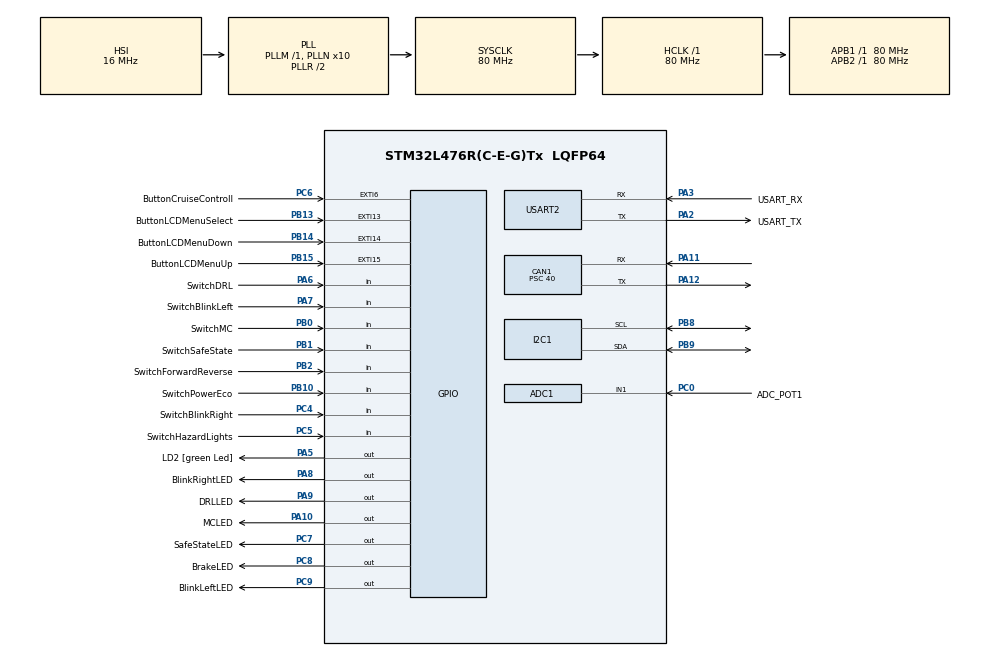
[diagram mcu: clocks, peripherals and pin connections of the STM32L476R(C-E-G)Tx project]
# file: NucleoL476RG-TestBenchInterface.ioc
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Mcu.Family=STM32L4
NVIC.ADC1_2_IRQn=true\:5\:0\:false\:false\:true\:true\:true\:true
PA2.GPIO_PuPd=GPIO_NOPULL
VP_SYS_VS_tim6.Mode=TIM6
TIM17.Prescaler=8000-1
RCC.CortexFreq_Value=80000000
VP_TIM17_VS_ClockSourceINT.Mode=Enable_Timer
ADC1.Overrun=ADC_OVR_DATA_OVERWRITTEN
VP_ADC1_TempSens_Input.Mode=IN-TempSens
ADC1.ContinuousConvMode=ENABLE
NVIC.TIM6_DAC_IRQn=true\:0\:0\:false\:false\:true\:false\:false\:true
PH0-OSC_IN\ (PH0).Signal=RCC_OSC_IN
PB14.GPIO_Label=ButtonLCDMenuDown
PA3.GPIO_PuPd=GPIO_NOPULL
PA2.GPIO_Speed=GPIO_SPEED_FREQ_VERY_HIGH
PC0.GPIO_Label=ADC_POT1
PC6.GPIO_Label=ButtonCruiseControll
PA11.Mode=CAN_Activate
PA6.GPIO_Label=SwitchDRL
PB0.GPIO_Label=SwitchMC
PC15-OSC32_OUT\ (PC15).Mode=LSE-External-Oscillator
PB13.GPIO_Label=ButtonLCDMenuSelect
PA3.GPIO_Speed=GPIO_SPEED_FREQ_VERY_HIGH
PB13.Signal=GPXTI13
PB15.Signal=GPXTI15
RCC.SYSCLKSource=RCC_SYSCLKSOURCE_PLLCLK
ProjectManager.StackSize=0x400
PB3\ (JTDO-TRACESWO).Signal=SYS_JTDO-SWO
PC14-OSC32_IN\ (PC14).Mode=LSE-External-Oscillator
VP_FREERTOS_VS_CMSIS_V2.Mode=CMSIS_V2
PA14\ (JTCK-SWCLK).Signal=SYS_JTCK-SWCLK
PA12.Signal=CAN1_TX
RCC.HCLKFreq_Value=80000000
RCC.APB2TimFreq_Value=80000000
Dma.ADC1.0.Direction=DMA_PERIPH_TO_MEMORY
PC7.Signal=GPIO_Output
Dma.ADC1.0.MemDataAlignment=DMA_MDATAALIGN_WORD
RCC.AHBFreq_Value=80000000
RCC.PREFETCH_ENABLE=1
NVIC.EXTI15_10_IRQn=true\:5\:0\:false\:false\:true\:true\:true\:true
ADC1.Channel-0\#ChannelRegularConversion=ADC_CHANNEL_TEMPSENSOR
RCC.HSE_VALUE=8000000
PB2.Signal=GPIO_Input
USART2.VirtualMode-Asynchronous=VM_ASYNC
TIM17.Period=5000-1
NVIC.TIM1_TRG_COM_TIM17_IRQn=true\:5\:0\:false\:false\:true\:true\:true\:true
PC4.GPIO_Label=SwitchBlinkRight
PB1.GPIO_Label=SwitchSafeState
PA5.GPIO_PuPd=GPIO_NOPULL
Dma.ADC1.0.PeriphInc=DMA_PINC_DISABLE
PA10.GPIO_Label=MCLED
PA8.Signal=GPIO_Output
ADC1.SamplingTime-0\#ChannelRegularConversion=ADC_SAMPLETIME_2CYCLES_5
FREERTOS.configTOTAL_HEAP_SIZE=4000
CAN1.Prescaler=40
Mcu.Package=LQFP64
PB9.Signal=I2C1_SDA
PB14.GPIO_PuPd=GPIO_PULLUP
PB1.Signal=GPIO_Input
PA6.Signal=GPIO_Input
NVIC.TimeBase=TIM6_DAC_IRQn
PB15.GPIO_PuPd=GPIO_PULLUP
PA2.GPIO_Label=USART_TX
NVIC.TimeBaseIP=TIM6
PA10.Signal=GPIO_Output
ADC1.OffsetNumber-1\#ChannelRegularConversion=ADC_OFFSET_NONE
PC6.GPIO_PuPd=GPIO_PULLUP
SH.ADCx_IN1.0=ADC1_IN1,IN1-Single-Ended
RCC.APB1TimFreq_Value=80000000
PC5.Signal=GPIO_Input
TIM16.Prescaler=8000-1
PA13\ (JTMS-SWDIO).Signal=SYS_JTMS-SWDIO
Dma.Request0=ADC1
CAN1.CalculateTimeBit=8000.00
RCC.PLLSAI1R=RCC_PLLR_DIV8
PA3.Signal=USART2_RX
CAN1.CalculateTimeQuantum=500.0
PA2.GPIO_Mode=GPIO_MODE_AF_PP
RCC.MSI_VALUE=4000000
RCC.PLLSourceVirtual=RCC_PLLSOURCE_HSI
PA14\ (JTCK-SWCLK).Mode=Serial_Wire
Dma.ADC1.0.Instance=DMA1_Channel1
FREERTOS.Tasks01=defaultTask,24,256,StartDefaultTask,Default,NULL,Dynamic,NULL,NULL;cruiseControl,40,128,StartCruiseControl,Default,NULL,Dynamic,NULL,NULL;ADC,8,256,StartADC,Default,NULL,Dynamic,NULL,NULL
ADC1.Rank-0\#ChannelRegularConversion=1
PC9.GPIO_Label=BlinkLeftLED
ADC1.OffsetNumber-0\#ChannelRegularConversion=ADC_OFFSET_NONE
PA9.GPIO_Label=DRLLED
CAN1.CalculateBaudRate=125000
PC8.Signal=GPIO_Output
PC4.Signal=GPIO_Input
PC6.Signal=GPXTI6
PC15-OSC32_OUT\ (PC15).Signal=RCC_OSC32_OUT
VP_TIM16_VS_ClockSourceINT.Mode=Enable_Timer
PA14\ (JTCK-SWCLK).GPIO_Label=TCK
PB3\ (JTDO-TRACESWO).GPIO_Label=SWO
PC0.Signal=ADCx_IN1
PH1-OSC_OUT\ (PH1).Signal=RCC_OSC_OUT
PC8.GPIO_Label=BrakeLED
PA3.Mode=Asynchronous
Dma.ADC1.0.PeriphDataAlignment=DMA_PDATAALIGN_WORD
PA8.GPIO_Label=BlinkRightLED
CAN1.BS2=CAN_BS2_2TQ
PC6.GPIO_ModeDefaultEXTI=GPIO_MODE_IT_RISING
CAN1.BS1=CAN_BS1_13TQ
ProjectManager.TargetToolchain=STM32CubeIDE
PB10.GPIO_Label=SwitchPowerEco
Dma.ADC1.0.Mode=DMA_CIRCULAR
PA3.GPIO_Mode=GPIO_MODE_AF_PP
PB9.Mode=I2C
Dma.ADC1.0.Priority=DMA_PRIORITY_LOW
PA9.Signal=GPIO_Output
ADC1.Channel-1\#ChannelRegularConversion=ADC_CHANNEL_1
I2C1.Timing=0x10909CEC
RCC.USBFreq_Value=64000000
PA7.GPIO_PuPd=GPIO_NOPULL
PB10.Signal=GPIO_Input
PB14.Signal=GPXTI14
PA5.Signal=GPIO_Output
board=NUCLEO-L476RG
RCC.VCOOutputFreq_Value=160000000
PB13.GPIO_PuPd=GPIO_PULLUP
TIM16.Period=5000-1
RCC.APB2Freq_Value=80000000
PA5.GPIO_ModeDefaultOutputPP=GPIO_MODE_OUTPUT_PP
PA13\ (JTMS-SWDIO).GPIO_Label=TMS
PB15.GPIO_Label=ButtonLCDMenuUp
RCC.ADCFreq_Value=16000000
ADC1.DMAContinuousRequests=ENABLE
ADC1.NbrOfConversion=2
Mcu.Name=STM32L476R(C-E-G)Tx
PA2.Signal=USART2_TX
PC7.GPIO_Label=SafeStateLED
PA13\ (JTMS-SWDIO).Mode=Serial_Wire
ADC1.SamplingTime-1\#ChannelRegularConversion=ADC_SAMPLETIME_247CYCLES_5
RCC.SYSCLKFreq_VALUE=80000000
PA7.GPIO_Label=SwitchBlinkLeft
ADC1.master=1
PA12.Mode=CAN_Activate
PA5.GPIO_Label=LD2 [green Led]
PC5.GPIO_Label=SwitchHazardLights
PC14-OSC32_IN\ (PC14).Signal=RCC_OSC32_IN
ADC1.Rank-1\#ChannelRegularConversion=2
PA11.Signal=CAN1_RX
NVIC.EXTI9_5_IRQn=true\:5\:0\:false\:false\:true\:true\:true\:true
Dma.ADC1.0.MemInc=DMA_MINC_ENABLE
PB2.GPIO_Label=SwitchForwardReverse
ProjectManager.HeapSize=0x200
RCC.HSI_VALUE=16000000
NVIC.TIM1_UP_TIM16_IRQn=true\:5\:0\:false\:false\:true\:true\:true\:true
PA5.GPIO_Speed=GPIO_SPEED_FREQ_LOW
NVIC.PriorityGroup=NVIC_PRIORITYGROUP_4
ADC1.NbrOfConversionFlag=1
PB8.Mode=I2C
RCC.PLLN=10
PA2.Mode=Asynchronous
PB8.Signal=I2C1_SCL
PC9.Signal=GPIO_Output
NVIC.DMA1_Channel1_IRQn=true\:5\:0\:false\:false\:true\:true\:false\:true
RCC.APB1Freq_Value=80000000
PB0.Signal=GPIO_Input
ADC1.ClockPrescaler=ADC_CLOCK_ASYNC_DIV64
NVIC.CAN1_RX0_IRQn=true\:5\:0\:false\:false\:true\:true\:true\:true
PA3.GPIO_Label=USART_RX
PA7.Signal=GPIO_Input

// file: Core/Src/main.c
/* USER CODE BEGIN Header */
/**
 ******************************************************************************
 * @file           : main.c
 * @brief          : Main program body
 ******************************************************************************
 * @attention
 *
 * <h2><center>&copy; Copyright (c) 2021 STMicroelectronics.
 * All rights reserved.</center></h2>
 *
 * This software component is licensed by ST under BSD 3-Clause license,
 * the "License"; You may not use this file except in compliance with the
 * License. You may obtain a copy of the License at:
 *                        opensource.org/licenses/BSD-3-Clause
 *
 ******************************************************************************
 */
/* USER CODE END Header */
#include "main.h"
#include "cmsis_os.h"

/* USER CODE BEGIN Includes */
#include <string.h>
#include <stdio.h>
#include <stdlib.h>
#include "i2c-lcd.h"
/* USER CODE END Includes */

/* USER CODE BEGIN PD */
#define DEBUG_MODE 1 //When running in debug mode the nucleo sends some debug data on USART
#define SAMPLERATE 1

#define NUMBER_OF_SWITCHES 8

#define NO_SENSOR_MSG 0x100

#define VSCALER 3.0 / 3.3
#define TS_CAL1 *(uint16_t *)(0x1FFF75A8) * VSCALER
#define TS_CAL2 *(uint16_t *)(0x1FFF75CA) * VSCALER
//#define VREFINT *(uint16_t*)(0x1FFF75AA)

/* USER CODE END PD */

/* USER CODE BEGIN PM */
//CAN_TxHeaderTypeDef TxHeader;
CAN_RxHeaderTypeDef RxHeader;
uint16_t OwnID = 0x124;

uint16_t TEMP_1 = 0x101; //Sensor Description Here
uint16_t TEMP_2 = 0x102; //Sensor Description Here
uint16_t TEMP_3 = 0x103; //Sensor Description Here

//Switch State 1 or 0
GPIO_PinState SwitchStates[NUMBER_OF_SWITCHES]; //0:DRL 1:BlinkLeft 2:BlinkRight 3:Hazard 4:MC 5:SafeState 6:ForwardReverse 7:PowerEco
GPIO_PinState PreviousSwitchStates[NUMBER_OF_SWITCHES];

char message[8];
char sMsg[50];

float cpuTemp;
char LCDArray[2][17];

int selectModeActive = 0;
int rowIndex = 0;
int lcdCurrentSelection = 0;

/*
  0: Speed
  1: Power drain
  2: Battery Voltages
  3: Battery level
  4: Temperatures
 */

int lcdSelection1 = 0; //Default Selection
int lcdSelection2 = 1; //Default Selection

char dataPresets[5][17] = {"Speed           ", "Power drain     ", "Battery Voltage ", "Battery level   ", "Temperature     "};
char selectionText[17];

int8_t cruiseControl = 0;

/* USER CODE END PM */

ADC_HandleTypeDef hadc1;
DMA_HandleTypeDef hdma_adc1;

CAN_HandleTypeDef hcan1;

I2C_HandleTypeDef hi2c1;

TIM_HandleTypeDef htim16;
TIM_HandleTypeDef htim17;

UART_HandleTypeDef huart2;

/* Definitions for defaultTask */
osThreadId_t defaultTaskHandle;
const osThreadAttr_t defaultTask_attributes = {
  .name = "defaultTask",
  .priority = (osPriority_t) osPriorityNormal,
  .stack_size = 256 * 4
};
/* Definitions for cruiseControl */
osThreadId_t cruiseControlHandle;
const osThreadAttr_t cruiseControl_attributes = {
  .name = "cruiseControl",
  .priority = (osPriority_t) osPriorityHigh,
  .stack_size = 128 * 4
};
/* Definitions for ADC */
osThreadId_t ADCHandle;
const osThreadAttr_t ADC_attributes = {
  .name = "ADC",
  .priority = (osPriority_t) osPriorityLow,
  .stack_size = 256 * 4
};

void SystemClock_Config(void);
static void MX_GPIO_Init(void);
static void MX_DMA_Init(void);
static void MX_USART2_UART_Init(void);
static void MX_CAN1_Init(void);
static void MX_ADC1_Init(void);
static void MX_I2C1_Init(void);
static void MX_TIM16_Init(void);
static void MX_TIM17_Init(void);
void StartDefaultTask(void *argument);
void StartCruiseControl(void *argument);
void StartADC(void *argument);

/* USER CODE BEGIN PFP */
void serialMsg(char msg[]);
void HAL_CAN_RxFifo0FullCallBack(CAN_HandleTypeDef *hcan);
void CAN_filterConfig(void);
void CAN_Tx(char msg[], CAN_TxHeaderTypeDef TxHeader);
void CAN_Rx(void);
void ReceiveSensorData(uint32_t sensorId, float data);
void LcdSendString(int8_t row, char string[]);

float get_Temp(int16_t variable);

/* USER CODE END PFP */

int main(void)
{

  /* MCU Configuration--------------------------------------------------------*/

  /* Reset of all peripherals, Initializes the Flash interface and the Systick. */
  HAL_Init();

  /* Configure the system clock */
  SystemClock_Config();

  /* Initialize all configured peripherals */
  MX_GPIO_Init();
  MX_DMA_Init();
  MX_USART2_UART_Init();
  MX_CAN1_Init();
  MX_ADC1_Init();
  MX_I2C1_Init();
  MX_TIM16_Init();
  MX_TIM17_Init();
  /* USER CODE BEGIN 2 */
	//Init LCD array
	/*
	for (int i = 0; i < 16; i++)
	{
		for (int j = 0; j < 2; j++)
		{
			LCDArray[i][j] = ' ';
		}
	}*/

	lcd_init();

	lcd_send_string("LCD Init");

	HAL_Delay(1000);

	lcd_clear();
	HAL_Delay(500);
	serialMsg("LCD Nucleo init\r\n");
  /* USER CODE END 2 */

  /* Init scheduler */
  osKernelInitialize();

  /* Create the thread(s) */
  /* creation of defaultTask */
  defaultTaskHandle = osThreadNew(StartDefaultTask, NULL, &defaultTask_attributes);

  /* creation of cruiseControl */
  cruiseControlHandle = osThreadNew(StartCruiseControl, NULL, &cruiseControl_attributes);

  /* creation of ADC */
  ADCHandle = osThreadNew(StartADC, NULL, &ADC_attributes);

  /* Start scheduler */
  osKernelStart();

  /* We should never get here as control is now taken by the scheduler */
  /* Infinite loop */
	while (1)
	{

	}
}

void SystemClock_Config(void)
{
  RCC_OscInitTypeDef RCC_OscInitStruct = {0};
  RCC_ClkInitTypeDef RCC_ClkInitStruct = {0};
  RCC_PeriphCLKInitTypeDef PeriphClkInit = {0};

  /** Initializes the RCC Oscillators according to the specified parameters
  * in the RCC_OscInitTypeDef structure.
  */
  RCC_OscInitStruct.OscillatorType = RCC_OSCILLATORTYPE_HSI;
  RCC_OscInitStruct.HSIState = RCC_HSI_ON;
  RCC_OscInitStruct.HSICalibrationValue = RCC_HSICALIBRATION_DEFAULT;
  RCC_OscInitStruct.PLL.PLLState = RCC_PLL_ON;
  RCC_OscInitStruct.PLL.PLLSource = RCC_PLLSOURCE_HSI;
  RCC_OscInitStruct.PLL.PLLM = 1;
  RCC_OscInitStruct.PLL.PLLN = 10;
  RCC_OscInitStruct.PLL.PLLP = RCC_PLLP_DIV7;
  RCC_OscInitStruct.PLL.PLLQ = RCC_PLLQ_DIV2;
  RCC_OscInitStruct.PLL.PLLR = RCC_PLLR_DIV2;
  if (HAL_RCC_OscConfig(&RCC_OscInitStruct) != HAL_OK)
  {
    Error_Handler();
  }
  /** Initializes the CPU, AHB and APB buses clocks
  */
  RCC_ClkInitStruct.ClockType = RCC_CLOCKTYPE_HCLK|RCC_CLOCKTYPE_SYSCLK
                              |RCC_CLOCKTYPE_PCLK1|RCC_CLOCKTYPE_PCLK2;
  RCC_ClkInitStruct.SYSCLKSource = RCC_SYSCLKSOURCE_PLLCLK;
  RCC_ClkInitStruct.AHBCLKDivider = RCC_SYSCLK_DIV1;
  RCC_ClkInitStruct.APB1CLKDivider = RCC_HCLK_DIV1;
  RCC_ClkInitStruct.APB2CLKDivider = RCC_HCLK_DIV1;

  if (HAL_RCC_ClockConfig(&RCC_ClkInitStruct, FLASH_LATENCY_4) != HAL_OK)
  {
    Error_Handler();
  }
  PeriphClkInit.PeriphClockSelection = RCC_PERIPHCLK_USART2|RCC_PERIPHCLK_I2C1
                              |RCC_PERIPHCLK_ADC;
  PeriphClkInit.Usart2ClockSelection = RCC_USART2CLKSOURCE_PCLK1;
  PeriphClkInit.I2c1ClockSelection = RCC_I2C1CLKSOURCE_PCLK1;
  PeriphClkInit.AdcClockSelection = RCC_ADCCLKSOURCE_PLLSAI1;
  PeriphClkInit.PLLSAI1.PLLSAI1Source = RCC_PLLSOURCE_HSI;
  PeriphClkInit.PLLSAI1.PLLSAI1M = 1;
  PeriphClkInit.PLLSAI1.PLLSAI1N = 8;
  PeriphClkInit.PLLSAI1.PLLSAI1P = RCC_PLLP_DIV7;
  PeriphClkInit.PLLSAI1.PLLSAI1Q = RCC_PLLQ_DIV2;
  PeriphClkInit.PLLSAI1.PLLSAI1R = RCC_PLLR_DIV8;
  PeriphClkInit.PLLSAI1.PLLSAI1ClockOut = RCC_PLLSAI1_ADC1CLK;
  if (HAL_RCCEx_PeriphCLKConfig(&PeriphClkInit) != HAL_OK)
  {
    Error_Handler();
  }
  /** Configure the main internal regulator output voltage
  */
  if (HAL_PWREx_ControlVoltageScaling(PWR_REGULATOR_VOLTAGE_SCALE1) != HAL_OK)
  {
    Error_Handler();
  }
}

static void MX_ADC1_Init(void)
{

  ADC_MultiModeTypeDef multimode = {0};
  ADC_ChannelConfTypeDef sConfig = {0};

  /** Common config
  */
  hadc1.Instance = ADC1;
  hadc1.Init.ClockPrescaler = ADC_CLOCK_ASYNC_DIV64;
  hadc1.Init.Resolution = ADC_RESOLUTION_12B;
  hadc1.Init.DataAlign = ADC_DATAALIGN_RIGHT;
  hadc1.Init.ScanConvMode = ADC_SCAN_ENABLE;
  hadc1.Init.EOCSelection = ADC_EOC_SINGLE_CONV;
  hadc1.Init.LowPowerAutoWait = DISABLE;
  hadc1.Init.ContinuousConvMode = ENABLE;
  hadc1.Init.NbrOfConversion = 2;
  hadc1.Init.DiscontinuousConvMode = DISABLE;
  hadc1.Init.ExternalTrigConv = ADC_SOFTWARE_START;
  hadc1.Init.ExternalTrigConvEdge = ADC_EXTERNALTRIGCONVEDGE_NONE;
  hadc1.Init.DMAContinuousRequests = ENABLE;
  hadc1.Init.Overrun = ADC_OVR_DATA_OVERWRITTEN;
  hadc1.Init.OversamplingMode = DISABLE;
  if (HAL_ADC_Init(&hadc1) != HAL_OK)
  {
    Error_Handler();
  }
  /** Configure the ADC multi-mode
  */
  multimode.Mode = ADC_MODE_INDEPENDENT;
  if (HAL_ADCEx_MultiModeConfigChannel(&hadc1, &multimode) != HAL_OK)
  {
    Error_Handler();
  }
  /** Configure Regular Channel
  */
  sConfig.Channel = ADC_CHANNEL_TEMPSENSOR;
  sConfig.Rank = ADC_REGULAR_RANK_1;
  sConfig.SamplingTime = ADC_SAMPLETIME_2CYCLES_5;
  sConfig.SingleDiff = ADC_SINGLE_ENDED;
  sConfig.OffsetNumber = ADC_OFFSET_NONE;
  sConfig.Offset = 0;
  if (HAL_ADC_ConfigChannel(&hadc1, &sConfig) != HAL_OK)
  {
    Error_Handler();
  }
  /** Configure Regular Channel
  */
  sConfig.Channel = ADC_CHANNEL_1;
  sConfig.Rank = ADC_REGULAR_RANK_2;
  sConfig.SamplingTime = ADC_SAMPLETIME_247CYCLES_5;
  if (HAL_ADC_ConfigChannel(&hadc1, &sConfig) != HAL_OK)
  {
    Error_Handler();
  }

}

static void MX_CAN1_Init(void)
{

  hcan1.Instance = CAN1;
  hcan1.Init.Prescaler = 40;
  hcan1.Init.Mode = CAN_MODE_NORMAL;
  hcan1.Init.SyncJumpWidth = CAN_SJW_1TQ;
  hcan1.Init.TimeSeg1 = CAN_BS1_13TQ;
  hcan1.Init.TimeSeg2 = CAN_BS2_2TQ;
  hcan1.Init.TimeTriggeredMode = DISABLE;
  hcan1.Init.AutoBusOff = DISABLE;
  hcan1.Init.AutoWakeUp = DISABLE;
  hcan1.Init.AutoRetransmission = DISABLE;
  hcan1.Init.ReceiveFifoLocked = DISABLE;
  hcan1.Init.TransmitFifoPriority = DISABLE;
  if (HAL_CAN_Init(&hcan1) != HAL_OK)
  {
    Error_Handler();
  }
  /* USER CODE BEGIN CAN1_Init 2 */
	CAN_filterConfig();
  /* USER CODE END CAN1_Init 2 */

}

static void MX_I2C1_Init(void)
{

  hi2c1.Instance = I2C1;
  hi2c1.Init.Timing = 0x10909CEC;
  hi2c1.Init.OwnAddress1 = 0;
  hi2c1.Init.AddressingMode = I2C_ADDRESSINGMODE_7BIT;
  hi2c1.Init.DualAddressMode = I2C_DUALADDRESS_DISABLE;
  hi2c1.Init.OwnAddress2 = 0;
  hi2c1.Init.OwnAddress2Masks = I2C_OA2_NOMASK;
  hi2c1.Init.GeneralCallMode = I2C_GENERALCALL_DISABLE;
  hi2c1.Init.NoStretchMode = I2C_NOSTRETCH_DISABLE;
  if (HAL_I2C_Init(&hi2c1) != HAL_OK)
  {
    Error_Handler();
  }
  /** Configure Analogue filter
  */
  if (HAL_I2CEx_ConfigAnalogFilter(&hi2c1, I2C_ANALOGFILTER_ENABLE) != HAL_OK)
  {
    Error_Handler();
  }
  /** Configure Digital filter
  */
  if (HAL_I2CEx_ConfigDigitalFilter(&hi2c1, 0) != HAL_OK)
  {
    Error_Handler();
  }

}

static void MX_TIM16_Init(void)
{

  htim16.Instance = TIM16;
  htim16.Init.Prescaler = 8000-1;
  htim16.Init.CounterMode = TIM_COUNTERMODE_UP;
  htim16.Init.Period = 5000-1;
  htim16.Init.ClockDivision = TIM_CLOCKDIVISION_DIV1;
  htim16.Init.RepetitionCounter = 0;
  htim16.Init.AutoReloadPreload = TIM_AUTORELOAD_PRELOAD_DISABLE;
  if (HAL_TIM_Base_Init(&htim16) != HAL_OK)
  {
    Error_Handler();
  }

}

static void MX_TIM17_Init(void)
{

  htim17.Instance = TIM17;
  htim17.Init.Prescaler = 8000-1;
  htim17.Init.CounterMode = TIM_COUNTERMODE_UP;
  htim17.Init.Period = 5000-1;
  htim17.Init.ClockDivision = TIM_CLOCKDIVISION_DIV1;
  htim17.Init.RepetitionCounter = 0;
  htim17.Init.AutoReloadPreload = TIM_AUTORELOAD_PRELOAD_DISABLE;
  if (HAL_TIM_Base_Init(&htim17) != HAL_OK)
  {
    Error_Handler();
  }

}

static void MX_USART2_UART_Init(void)
{

  huart2.Instance = USART2;
  huart2.Init.BaudRate = 115200;
  huart2.Init.WordLength = UART_WORDLENGTH_8B;
  huart2.Init.StopBits = UART_STOPBITS_1;
  huart2.Init.Parity = UART_PARITY_NONE;
  huart2.Init.Mode = UART_MODE_TX_RX;
  huart2.Init.HwFlowCtl = UART_HWCONTROL_NONE;
  huart2.Init.OverSampling = UART_OVERSAMPLING_16;
  huart2.Init.OneBitSampling = UART_ONE_BIT_SAMPLE_DISABLE;
  huart2.AdvancedInit.AdvFeatureInit = UART_ADVFEATURE_NO_INIT;
  if (HAL_UART_Init(&huart2) != HAL_OK)
  {
    Error_Handler();
  }

}

static void MX_DMA_Init(void)
{

  /* DMA controller clock enable */
  __HAL_RCC_DMA1_CLK_ENABLE();

  /* DMA interrupt init */
  /* DMA1_Channel1_IRQn interrupt configuration */
  HAL_NVIC_SetPriority(DMA1_Channel1_IRQn, 5, 0);
  HAL_NVIC_EnableIRQ(DMA1_Channel1_IRQn);

}

static void MX_GPIO_Init(void)
{
  GPIO_InitTypeDef GPIO_InitStruct = {0};

  /* GPIO Ports Clock Enable */
  __HAL_RCC_GPIOC_CLK_ENABLE();
  __HAL_RCC_GPIOH_CLK_ENABLE();
  __HAL_RCC_GPIOA_CLK_ENABLE();
  __HAL_RCC_GPIOB_CLK_ENABLE();

  /*Configure GPIO pin Output Level */
  HAL_GPIO_WritePin(GPIOA, LD2_Pin|BlinkRightLED_Pin|DRLLED_Pin|MCLED_Pin, GPIO_PIN_RESET);

  /*Configure GPIO pin Output Level */
  HAL_GPIO_WritePin(GPIOC, SafeStateLED_Pin|BrakeLED_Pin|BlinkLeftLED_Pin, GPIO_PIN_RESET);

  /*Configure GPIO pins : LD2_Pin BlinkRightLED_Pin DRLLED_Pin MCLED_Pin */
  GPIO_InitStruct.Pin = LD2_Pin|BlinkRightLED_Pin|DRLLED_Pin|MCLED_Pin;
  GPIO_InitStruct.Mode = GPIO_MODE_OUTPUT_PP;
  GPIO_InitStruct.Pull = GPIO_NOPULL;
  GPIO_InitStruct.Speed = GPIO_SPEED_FREQ_LOW;
  HAL_GPIO_Init(GPIOA, &GPIO_InitStruct);

  /*Configure GPIO pins : SwitchDRL_Pin SwitchBlinkLeft_Pin */
  GPIO_InitStruct.Pin = SwitchDRL_Pin|SwitchBlinkLeft_Pin;
  GPIO_InitStruct.Mode = GPIO_MODE_INPUT;
  GPIO_InitStruct.Pull = GPIO_NOPULL;
  HAL_GPIO_Init(GPIOA, &GPIO_InitStruct);

  /*Configure GPIO pins : SwitchBlinkRight_Pin SwitchHazardLights_Pin */
  GPIO_InitStruct.Pin = SwitchBlinkRight_Pin|SwitchHazardLights_Pin;
  GPIO_InitStruct.Mode = GPIO_MODE_INPUT;
  GPIO_InitStruct.Pull = GPIO_NOPULL;
  HAL_GPIO_Init(GPIOC, &GPIO_InitStruct);

  /*Configure GPIO pins : SwitchMC_Pin SwitchSafeState_Pin SwitchForwardReverse_Pin SwitchPowerEco_Pin */
  GPIO_InitStruct.Pin = SwitchMC_Pin|SwitchSafeState_Pin|SwitchForwardReverse_Pin|SwitchPowerEco_Pin;
  GPIO_InitStruct.Mode = GPIO_MODE_INPUT;
  GPIO_InitStruct.Pull = GPIO_NOPULL;
  HAL_GPIO_Init(GPIOB, &GPIO_InitStruct);

  /*Configure GPIO pins : ButtonLCDMenuSelect_Pin ButtonLCDMenuDown_Pin ButtonLCDMenuUp_Pin */
  GPIO_InitStruct.Pin = ButtonLCDMenuSelect_Pin|ButtonLCDMenuDown_Pin|ButtonLCDMenuUp_Pin;
  GPIO_InitStruct.Mode = GPIO_MODE_IT_RISING;
  GPIO_InitStruct.Pull = GPIO_PULLUP;
  HAL_GPIO_Init(GPIOB, &GPIO_InitStruct);

  /*Configure GPIO pin : ButtonCruiseControll_Pin */
  GPIO_InitStruct.Pin = ButtonCruiseControll_Pin;
  GPIO_InitStruct.Mode = GPIO_MODE_IT_RISING;
  GPIO_InitStruct.Pull = GPIO_PULLUP;
  HAL_GPIO_Init(ButtonCruiseControll_GPIO_Port, &GPIO_InitStruct);

  /*Configure GPIO pins : SafeStateLED_Pin BrakeLED_Pin BlinkLeftLED_Pin */
  GPIO_InitStruct.Pin = SafeStateLED_Pin|BrakeLED_Pin|BlinkLeftLED_Pin;
  GPIO_InitStruct.Mode = GPIO_MODE_OUTPUT_PP;
  GPIO_InitStruct.Pull = GPIO_NOPULL;
  GPIO_InitStruct.Speed = GPIO_SPEED_FREQ_LOW;
  HAL_GPIO_Init(GPIOC, &GPIO_InitStruct);

  /* EXTI interrupt init*/
  HAL_NVIC_SetPriority(EXTI9_5_IRQn, 5, 0);
  HAL_NVIC_EnableIRQ(EXTI9_5_IRQn);

  HAL_NVIC_SetPriority(EXTI15_10_IRQn, 5, 0);
  HAL_NVIC_EnableIRQ(EXTI15_10_IRQn);

}

/* USER CODE BEGIN 4 */

//Send message on USART2 (USB 115200)
void serialMsg(char msg[])
{
	HAL_UART_Transmit(&huart2, (uint8_t *)msg, strlen(msg), HAL_MAX_DELAY);
}

void CAN_Tx(char msg[], CAN_TxHeaderTypeDef TxHeader)
{

	if (sizeof(*msg) <= 8)
	{
		uint32_t TxMailBox; //Outgoing mail box

		if (HAL_CAN_AddTxMessage(&hcan1, &TxHeader, (uint8_t *)msg, &TxMailBox) != HAL_OK)
		{
			Error_Handler();
		}

		while (HAL_CAN_IsTxMessagePending(&hcan1, TxMailBox)); //Wait for message to be sent.
			  //serialMsg("Message transmitted!\n\r");//Debug
	}
	else
	{
		//Throw ERROR "CAN Packet size to large"
		if (DEBUG_MODE)
		{
			serialMsg("CAN Packet size to large. Packet size ");
			serialMsg((char *)sizeof(*msg));
			serialMsg(" Bytes.\n\r");
		}
	}
}

void CAN_Rx(void)
{

	uint8_t receivedData[8];
	RxHeader.DLC = 8;			 //Specifies the length of the frame that will be received.
	RxHeader.IDE = CAN_ID_STD;	 //Specifies the type of identifier for the message that will be received.
	RxHeader.RTR = CAN_RTR_DATA; //Specifies the type of frame for the message that will be received.
	RxHeader.StdId = 0x0;		 //Specifies the standard identifier. Has no use when receiving.

	//Receive the messsage
	if (HAL_CAN_GetRxMessage(&hcan1, CAN_RX_FIFO0, &RxHeader, receivedData) != HAL_OK)
	{
		Error_Handler();
		return;
	}
	if (RxHeader.ExtId != 0x100)
	{
		ReceiveSensorData(RxHeader.ExtId, (float)atof((char *)receivedData));
	}

	HAL_Delay(1);
	if (DEBUG_MODE)
	{
		serialMsg("Received message: ");
		serialMsg((char *)receivedData);
		serialMsg("\n\r");
	}
}

void CAN_filterConfig(void)
{
	CAN_FilterTypeDef filterConfig;
	filterConfig.FilterBank = 0;						  //Specifies the filter bank which will be initialized.
	filterConfig.FilterActivation = ENABLE;				  //Enable or disable the filter.
	filterConfig.FilterFIFOAssignment = CAN_FILTER_FIFO0; //Specifies the FIFO (0 or 1U) which will be assigned to the filter.
	filterConfig.FilterIdHigh = 0x0000;					  //Specifies the filter identification number.
	filterConfig.FilterIdLow = 0x0000;					  //Specifies the filter identification number.
	filterConfig.FilterMaskIdHigh = 0x0000;				  //Specifies the filter mask number or identification number, according to the mode.
	filterConfig.FilterMaskIdLow = 0x0000;				  //Specifies the filter mask number or identification number, according to the mode.
	filterConfig.FilterMode = CAN_FILTERMODE_IDMASK;	  //Specifies the filter mode to be initialized.
	filterConfig.FilterScale = CAN_FILTERSCALE_16BIT;	  //Specifies the filter scale.

	HAL_CAN_ConfigFilter(&hcan1, &filterConfig);
}

void ReadSensorValues(void)
{
	//uint16_t value1 = GetRandomuint16();
	//uint16_t value2 = GetRandomuint16();
	//uint16_t value3 = GetRandomuint16();
}

int GetRandomInt(int max)
{
	return (int)rand() % max;
}
//Update LCD values
void UpdateLCDValues(void)
{
	if (selectModeActive == 0)
	{

		switch (lcdSelection1)
		//First row
		{
		case 0:
			sprintf(LCDArray[0], "Vel:%3ikm/h", GetRandomInt(110));
			break;
		case 1:
			sprintf(LCDArray[0], "Power Cons:%4iW", GetRandomInt(2000));
			break;
		case 2:
			sprintf(LCDArray[0], "Bat Volt:%3iV", GetRandomInt(120));
			break;
		case 3:
			sprintf(LCDArray[0], "Bat Level:%3i%%", GetRandomInt(100));
			break;
		case 4:
			sprintf(LCDArray[0], "Temp:%2iC", (int)cpuTemp);
			break;
		}
		//Second row
		switch (lcdSelection2)
		{
		case 0:
			sprintf(LCDArray[1], "Vel:%3ikm/h", GetRandomInt(110));
			break;
		case 1:
			sprintf(LCDArray[1], "Power Cons:%4iW", GetRandomInt(2000));
			break;
		case 2:
			sprintf(LCDArray[1], "Bat Volt:%3iV", GetRandomInt(120));
			break;
		case 3:
			sprintf(LCDArray[1], "Bat Level:%3i%%", GetRandomInt(100));
			break;
		case 4:
			sprintf(LCDArray[1], "Temp:%2iC", (int)cpuTemp);
			break;
		}
	}
	else //Display Values from Select Mode
	{

		memcpy(LCDArray[0], selectionText, strlen(selectionText));
		memcpy(LCDArray[1], dataPresets[lcdCurrentSelection], strlen(dataPresets[lcdCurrentSelection]));
	}
}

//Draw whatever is in the LCDArray
void DrawLCD(void)
{
	LcdSendString(0, LCDArray[0]);
	LcdSendString(1, LCDArray[1]);
}

void LcdSendString(int8_t row, char *string)
{
	sprintf(string, "%-16s", string);
	lcd_put_cur(row, 0);
	HAL_Delay(2);
	lcd_send_string(string);
	HAL_Delay(2);
}

//Reads and saves Switch states
void ReadSwitchStates()
{
	for (int8_t i = 0; i < NUMBER_OF_SWITCHES; i++)
	{
		PreviousSwitchStates[i] = SwitchStates[i];
	}
	SwitchStates[0] = HAL_GPIO_ReadPin(SwitchDRL_GPIO_Port, SwitchDRL_Pin);
	SwitchStates[1] = HAL_GPIO_ReadPin(SwitchBlinkLeft_GPIO_Port, SwitchBlinkLeft_Pin);
	SwitchStates[2] = HAL_GPIO_ReadPin(SwitchBlinkRight_GPIO_Port, SwitchBlinkRight_Pin);
	SwitchStates[3] = HAL_GPIO_ReadPin(SwitchHazardLights_GPIO_Port, SwitchHazardLights_Pin);
	SwitchStates[4] = HAL_GPIO_ReadPin(SwitchMC_GPIO_Port, SwitchMC_Pin);
	SwitchStates[5] = HAL_GPIO_ReadPin(SwitchSafeState_GPIO_Port, SwitchSafeState_Pin);
	SwitchStates[6] = HAL_GPIO_ReadPin(SwitchForwardReverse_GPIO_Port, SwitchForwardReverse_Pin);
	SwitchStates[7] = HAL_GPIO_ReadPin(SwitchPowerEco_GPIO_Port, SwitchPowerEco_Pin);

	for (int8_t i = 0; i < NUMBER_OF_SWITCHES; i++)
	{
		if (PreviousSwitchStates[i] != SwitchStates[i])
		{
			SwitchStateChanged(i, SwitchStates[i]);
		}
	}
}

void SwitchStateChanged(int8_t switchId, GPIO_PinState newState)
{
	if (DEBUG_MODE)
	{
		if (newState == GPIO_PIN_SET)
		{
			sprintf(sMsg, "Switch id: %i, changed state to: HIGH\n\r", switchId);
		}
		else
		{
			sprintf(sMsg, "Switch id: %i, changed state to: LOW\n\r", switchId);
		}
		serialMsg(sMsg);
	}

	switch (switchId)
	{
	case 0: //DRL
		SetDRLLED(newState);
		break;
	case 1: //BlinkLeft
		if (newState == GPIO_PIN_SET)
		{
			HAL_TIM_Base_Start_IT(&htim17);
		}
		else
		{
			HAL_TIM_Base_Stop_IT(&htim17);
			HAL_GPIO_WritePin(BlinkLeftLED_GPIO_Port, BlinkLeftLED_Pin, GPIO_PIN_RESET);
		}

		break;
	case 2: //BlinkRight
		if (newState == GPIO_PIN_SET)
		{
			HAL_TIM_Base_Start_IT(&htim16);
		}
		else
		{
			HAL_TIM_Base_Stop_IT(&htim16);
			HAL_GPIO_WritePin(BlinkRightLED_GPIO_Port, BlinkRightLED_Pin, GPIO_PIN_RESET);
		}
		break;
	case 3: //HazardLights
		if (newState == GPIO_PIN_SET)
		{
			HAL_TIM_Base_Start_IT(&htim17);
			HAL_TIM_Base_Start_IT(&htim16);
		}
		else
		{
			HAL_TIM_Base_Stop_IT(&htim17);
			HAL_TIM_Base_Stop_IT(&htim16);
			HAL_GPIO_WritePin(BlinkLeftLED_GPIO_Port, BlinkLeftLED_Pin, GPIO_PIN_RESET);
			HAL_GPIO_WritePin(BlinkRightLED_GPIO_Port, BlinkRightLED_Pin, GPIO_PIN_RESET);
		}
		break;
	case 4: //MC
		SetMCLED(newState);
		break;
	case 5: //SafeState
		if (newState == GPIO_PIN_SET)
		{
			//Enter safe state
			SetSafeStateLED(newState);
		}
		else
		{
			//Allow return from safe state
		}
		break;
	case 6: //ForwardReverse
		if (newState == GPIO_PIN_SET)
		{
			//Put motor in Reverse
			//SetForwardReverseLED(newState);
		}
		else
		{
			//Put motor in Forward
			//SetForwardReverseLED(newState);
		}
		break;
	case 7: //PowerEco
		if (newState == GPIO_PIN_SET)
		{
			//Set car in Eco mode
		}
		else
		{
			//Set car in Power mode
		}
		break;
	}
}

void ButtonCruiseControll()
{
	if (!cruiseControl)
		cruiseControl = 1; //Start Cruise Control
	else
		cruiseControl = 0; //End Cruise Control
}
void ButtonReset()
{
	//Restart Nucleo Safe
	//if(car in idle state)
	//Reset();
}
void ButtonLCDMenuUp()
{
	lcdCurrentSelection = (5 + lcdCurrentSelection - 1) % 5;
}
void ButtonLCDMenuDown()
{
	lcdCurrentSelection = (lcdCurrentSelection + 1) % 5;
}
void ButtonLCDMenuSelect()
{
	if (selectModeActive)
	{
		if (rowIndex == 1)
		{
			lcdSelection1 = lcdCurrentSelection;
			rowIndex = 2;
			lcdCurrentSelection = lcdSelection2;
			sprintf(selectionText, "Display Row:%i   ", rowIndex);
		}
		else if (rowIndex == 2)
		{
			lcdSelection2 = lcdCurrentSelection;
			selectModeActive = 0;
			if (DEBUG_MODE)
			{
				sprintf(sMsg, "LCD Selection %i : %i\n\r", lcdSelection1, lcdSelection2);
				serialMsg(sMsg);
			}
		}
	}
	else
	{
		selectModeActive = 1;
		rowIndex = 1;
		lcdCurrentSelection = lcdSelection1;
		sprintf(selectionText, "Display Row:%i   ", rowIndex);
	}
}
//Set
void SetDRLLED(GPIO_PinState pinState)
{
	HAL_GPIO_WritePin(DRLLED_GPIO_Port, DRLLED_Pin, pinState);
}

void SetMCLED(GPIO_PinState pinState)
{
	HAL_GPIO_WritePin(MCLED_GPIO_Port, MCLED_Pin, pinState);
}
void SetSafeStateLED(GPIO_PinState pinState)
{
	HAL_GPIO_WritePin(SafeStateLED_GPIO_Port, SafeStateLED_Pin, pinState);
}

void SetForwardReverseLED(GPIO_PinState pinState)
{
	//HAL_GPIO_WritePin(ForwardReverseLED_GPIO_Port, ForwardReverseLED_Pin, pinState);
}

//Toggle
void ToggleHazzardLED()
{
	HAL_GPIO_TogglePin(BlinkRightLED_GPIO_Port, BlinkRightLED_Pin);
	HAL_GPIO_TogglePin(BlinkLeftLED_GPIO_Port, BlinkLeftLED_Pin);
}
void ToggleDRLLED()
{
	HAL_GPIO_TogglePin(DRLLED_GPIO_Port, DRLLED_Pin);
}
void ToggleBlinkRightLED()
{
	HAL_GPIO_TogglePin(BlinkRightLED_GPIO_Port, BlinkRightLED_Pin);
}
void ToggleBlinkLeftLED()
{
	HAL_GPIO_TogglePin(BlinkLeftLED_GPIO_Port, BlinkLeftLED_Pin);
}
void ToggleBrakeLED()
{
	HAL_GPIO_TogglePin(BrakeLED_GPIO_Port, BrakeLED_Pin);
}
void ToggleMCLED()
{
	HAL_GPIO_TogglePin(MCLED_GPIO_Port, MCLED_Pin);
}
void ToggleSafeStateLED()
{
	HAL_GPIO_TogglePin(SafeStateLED_GPIO_Port, SafeStateLED_Pin);
}
void ToggleForwardReverseLED()
{
	//HAL_GPIO_TogglePin(ForwardReverseLED_GPIO_Port, ForwardReverseLED_Pin);
}
void TogglePowerEcoLED()
{
	//HAL_GPIO_TogglePin(PowerEcoLED_GPIO_Port, PowerEcoLED_Pin);
}
void ToggleOnOffLED()
{
	//HAL_GPIO_TogglePin(OnOffLED_GPIO_Port, OnOffLED_Pin);
}

// Convert ADC reading to temperature
float get_Temp(int16_t variable)
{
	// Values from datasheet and internal calibration registers
	float k = (110.f - 30.f) / ((TS_CAL2 - TS_CAL1));
	float temp = k * (variable - TS_CAL1) + 30;
	return temp;
}

// Read the ADC values in the DMA
uint32_t adc_val[2], adc_buf[2];
void HAL_ADC_ConvCpltCallback(ADC_HandleTypeDef *hadc)
{

	for (int i = 0; i < 2; i++)
	{
		adc_val[i] = adc_buf[i]; // store the values in adc_val from buffer
	}
}

void SendSensorData(uint16_t sensorId, float data)
{
	char sensorData[9];
	CAN_TxHeaderTypeDef TxHeader;
	TxHeader.DLC = 8;			 //Specifies the length of the frame that will be transmitted.
	TxHeader.IDE = CAN_ID_STD;	 //Specifies the type of identifier for the message that will be transmitted.
	TxHeader.RTR = CAN_RTR_DATA; //Specifies the type of frame for the message that will be transmitted.
	TxHeader.StdId = OwnID;		 //Specifies the standard identifier.
	TxHeader.TransmitGlobalTime = DISABLE;
	TxHeader.ExtId = sensorId; //Specifies the extended identifier.

	sprintf(sensorData, "%06f", data);
	CAN_Tx(sensorData, TxHeader);
}

void ReceiveSensorData(uint32_t sensorId, float data)
{
	char s_data[20];
	if(sensorId == TEMP_1){
		sprintf(s_data, "T1: %f C", data);
		serialMsg(s_data);
	}
	else if(sensorId == TEMP_2){
		sprintf(s_data, "T2: %f C", data);
		serialMsg(s_data);
	}
	else if(sensorId == TEMP_3){
		sprintf(s_data, "T3: %f C", data);
		serialMsg(s_data);
	}
}

/* USER CODE END 4 */

void StartDefaultTask(void *argument)
{
  /* USER CODE BEGIN 5 */
	/* Infinite loop */
	for (;;)
	{
		UpdateLCDValues();
		DrawLCD();
		ReadSwitchStates();
		osDelay(500);
	}
  /* USER CODE END 5 */
}

void StartCruiseControl(void *argument)
{
  /* USER CODE BEGIN StartCruiseControl */
	/* Infinite loop */
	for (;;)
	{
		osDelay(100);
		if (cruiseControl)
		{
			//initial code here
			while (cruiseControl)
			{
				//continus code here
				osDelay(100);
			}
			//end of loop code here
		}
	}
  /* USER CODE END StartCruiseControl */
}

void StartADC(void *argument)
{
  /* USER CODE BEGIN StartADC */
	HAL_ADC_Stop(&hadc1);
	HAL_ADCEx_Calibration_Start(&hadc1, ADC_SINGLE_ENDED);
	osDelay(10);
	HAL_ADC_Start_DMA(&hadc1, (uint32_t *)adc_buf, 2); // start adc in DMA mode
	//HAL_ADC_Start_IT (&hadc1);

	/* Infinite loop */
	for (;;)
	{
		cpuTemp = get_Temp((int16_t)adc_val[0]);
		osDelay(100);
	}
  /* USER CODE END StartADC */
}

 /**
  * @brief  Period elapsed callback in non blocking mode
  * @note   This function is called  when TIM6 interrupt took place, inside
  * HAL_TIM_IRQHandler(). It makes a direct call to HAL_IncTick() to increment
  * a global variable "uwTick" used as application time base.
  * @param  htim : TIM handle
  * @retval None
  */
void HAL_TIM_PeriodElapsedCallback(TIM_HandleTypeDef *htim)
{
  if (htim->Instance == TIM6) {
    HAL_IncTick();
  }
  /* USER CODE BEGIN Callback 1 */
	if (htim == &htim16)
	{
		ToggleBlinkRightLED();
	}
	if (htim == &htim17)
	{
		ToggleBlinkLeftLED();
	}
  /* USER CODE END Callback 1 */
}

void Error_Handler(void)
{
	__disable_irq();
	while (1)
	{
	}
}

/************************ (C) COPYRIGHT STMicroelectronics *****END OF FILE****/
